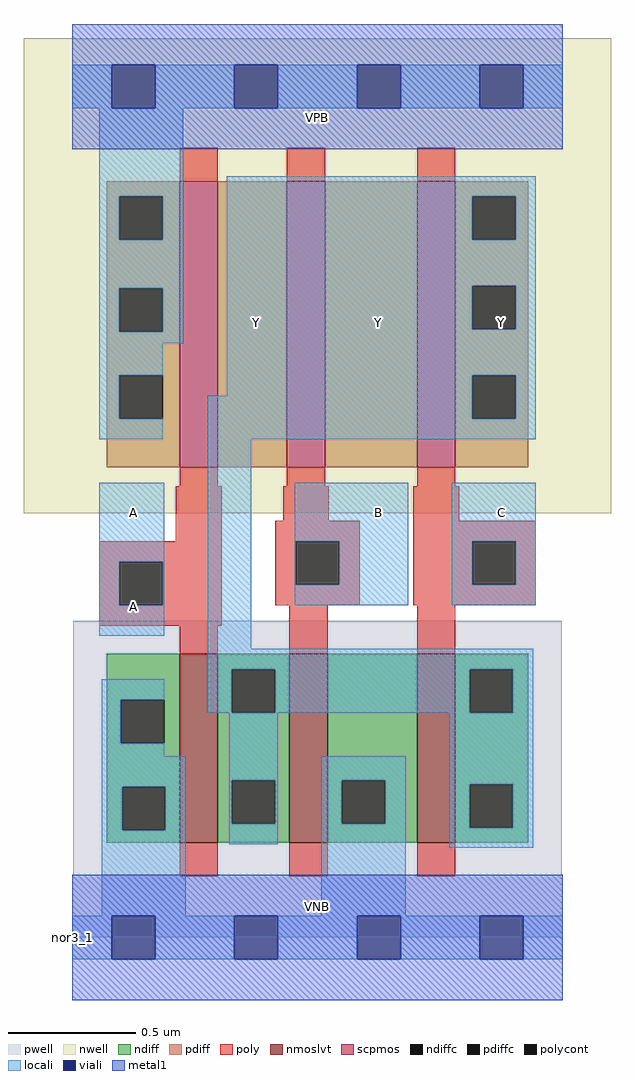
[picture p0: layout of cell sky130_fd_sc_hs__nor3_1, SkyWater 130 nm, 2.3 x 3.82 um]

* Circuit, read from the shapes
.subckt sky130_fd_sc_hs__nor3_1 A B C VGND VNB VPB VPWR Y
XM1 Y A VGND VNB sky130_fd_pr__nfet_01v8_lvt w=0.74 l=0.15
XM2 VGND B Y VNB sky130_fd_pr__nfet_01v8_lvt w=0.74 l=0.15
XM3 Y C VGND VNB sky130_fd_pr__nfet_01v8_lvt w=0.74 l=0.15
XM4 n1 A VPWR VPB sky130_fd_pr__pfet_01v8 w=1.12 l=0.15
XM5 n2 B n1 VPB sky130_fd_pr__pfet_01v8 w=1.12 l=0.15
XM6 Y C n2 VPB sky130_fd_pr__pfet_01v8 w=1.12 l=0.15
.ends

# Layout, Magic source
magic
tech sky130A
magscale 1 2
<< nwell >>
rect -38 332 422 704
<< pwell >>
rect 1 49 383 248
rect 0 0 384 49
<< scpmos >>
rect 84 368 114 592
rect 168 368 198 592
rect 270 368 300 592
<< nmoslvt >>
rect 84 74 114 222
rect 170 74 200 222
rect 270 74 300 222
<< ndiff >>
rect 27 186 84 222
rect 27 152 38 186
rect 72 152 84 186
rect 27 118 84 152
rect 27 84 39 118
rect 73 84 84 118
rect 27 74 84 84
rect 114 210 170 222
rect 114 176 125 210
rect 159 176 170 210
rect 114 123 170 176
rect 114 89 125 123
rect 159 89 170 123
rect 114 74 170 89
rect 200 123 270 222
rect 200 89 211 123
rect 245 89 270 123
rect 200 74 270 89
rect 300 210 357 222
rect 300 176 311 210
rect 345 176 357 210
rect 300 120 357 176
rect 300 86 311 120
rect 345 86 357 120
rect 300 74 357 86
<< pdiff >>
rect 27 580 84 592
rect 27 546 37 580
rect 71 546 84 580
rect 27 508 84 546
rect 27 474 37 508
rect 71 474 84 508
rect 27 440 84 474
rect 27 406 37 440
rect 71 406 84 440
rect 27 368 84 406
rect 114 368 168 592
rect 198 368 270 592
rect 300 580 357 592
rect 300 546 313 580
rect 347 546 357 580
rect 300 510 357 546
rect 300 476 313 510
rect 347 476 357 510
rect 300 440 357 476
rect 300 406 313 440
rect 347 406 357 440
rect 300 368 357 406
<< ndiffc >>
rect 38 152 72 186
rect 39 84 73 118
rect 125 176 159 210
rect 125 89 159 123
rect 211 89 245 123
rect 311 176 345 210
rect 311 86 345 120
<< pdiffc >>
rect 37 546 71 580
rect 37 474 71 508
rect 37 406 71 440
rect 313 546 347 580
rect 313 476 347 510
rect 313 406 347 440
<< poly >>
rect 84 592 114 618
rect 168 592 198 618
rect 270 592 300 618
rect 84 353 114 368
rect 168 353 198 368
rect 270 353 300 368
rect 81 310 117 353
rect 165 326 201 353
rect 267 326 303 353
rect 21 294 117 310
rect 21 260 37 294
rect 71 260 117 294
rect 159 310 225 326
rect 159 276 175 310
rect 209 276 225 310
rect 159 260 225 276
rect 267 310 363 326
rect 267 276 313 310
rect 347 276 363 310
rect 267 260 363 276
rect 21 244 117 260
rect 84 222 114 244
rect 170 222 200 260
rect 270 222 300 260
rect 84 48 114 74
rect 170 48 200 74
rect 270 48 300 74
<< polycont >>
rect 37 260 71 294
rect 175 276 209 310
rect 313 276 347 310
<< locali >>
rect 0 649 31 683
rect 65 649 127 683
rect 161 649 223 683
rect 257 649 319 683
rect 353 649 384 683
rect 21 580 87 649
rect 21 546 37 580
rect 71 546 87 580
rect 21 508 87 546
rect 21 474 37 508
rect 71 474 87 508
rect 21 465 87 474
rect 121 580 363 596
rect 121 546 313 580
rect 347 546 363 580
rect 121 510 363 546
rect 121 476 313 510
rect 347 476 363 510
rect 21 440 71 465
rect 21 406 37 440
rect 121 440 363 476
rect 121 424 313 440
rect 21 390 71 406
rect 106 406 313 424
rect 347 406 363 440
rect 106 390 363 406
rect 21 294 72 356
rect 21 260 37 294
rect 71 260 72 294
rect 21 236 72 260
rect 106 226 140 390
rect 174 310 263 356
rect 174 276 175 310
rect 209 276 263 310
rect 174 260 263 276
rect 297 310 363 356
rect 297 276 313 310
rect 347 276 363 310
rect 297 260 363 276
rect 106 210 361 226
rect 23 186 72 202
rect 23 152 38 186
rect 106 176 125 210
rect 159 176 311 210
rect 345 176 361 210
rect 23 142 72 152
rect 23 118 89 142
rect 23 84 39 118
rect 73 84 89 118
rect 23 17 89 84
rect 123 123 161 176
rect 123 89 125 123
rect 159 89 161 123
rect 123 73 161 89
rect 195 123 261 142
rect 195 89 211 123
rect 245 89 261 123
rect 195 17 261 89
rect 295 120 361 176
rect 295 86 311 120
rect 345 86 361 120
rect 295 70 361 86
rect 0 -17 31 17
rect 65 -17 127 17
rect 161 -17 223 17
rect 257 -17 319 17
rect 353 -17 384 17
<< viali >>
rect 31 649 65 683
rect 127 649 161 683
rect 223 649 257 683
rect 319 649 353 683
rect 31 -17 65 17
rect 127 -17 161 17
rect 223 -17 257 17
rect 319 -17 353 17
<< metal1 >>
rect 0 683 384 715
rect 0 649 31 683
rect 65 649 127 683
rect 161 649 223 683
rect 257 649 319 683
rect 353 649 384 683
rect 0 617 384 649
rect 0 17 384 49
rect 0 -17 31 17
rect 65 -17 127 17
rect 161 -17 223 17
rect 257 -17 319 17
rect 353 -17 384 17
rect 0 -49 384 -17
<< labels >>
rlabel comment s 0 0 0 0 4 nor3_1
flabel pwell s 0 0 384 49 0 FreeSans 200 0 0 0 VNB
port 5 nsew ground bidirectional
flabel nwell s 0 617 384 666 0 FreeSans 200 0 0 0 VPB
port 6 nsew power bidirectional
flabel metal1 s 0 617 384 666 0 FreeSans 340 0 0 0 VPWR
port 7 nsew power bidirectional
flabel metal1 s 0 0 384 49 0 FreeSans 340 0 0 0 VGND
port 4 nsew ground bidirectional
flabel locali s 127 464 161 498 0 FreeSans 340 0 0 0 Y
port 8 nsew signal output
flabel locali s 223 464 257 498 0 FreeSans 340 0 0 0 Y
port 8 nsew signal output
flabel locali s 319 464 353 498 0 FreeSans 340 0 0 0 Y
port 8 nsew signal output
flabel locali s 319 316 353 350 0 FreeSans 340 0 0 0 C
port 3 nsew signal input
flabel locali s 223 316 257 350 0 FreeSans 340 0 0 0 B
port 2 nsew signal input
flabel locali s 31 242 65 276 0 FreeSans 340 0 0 0 A
port 1 nsew signal input
flabel locali s 31 316 65 350 0 FreeSans 340 0 0 0 A
port 1 nsew signal input
<< properties >>
string LEFsite unit
string LEFclass CORE
string FIXED_BBOX 0 0 384 666
string GDS_FILE $PDKPATH/libs.ref/sky130_fd_sc_hs/gds/sky130_fd_sc_hs.gds
string LEFsymmetry X Y
string GDS_END 1577710
string GDS_START 1572928
<< end >>
